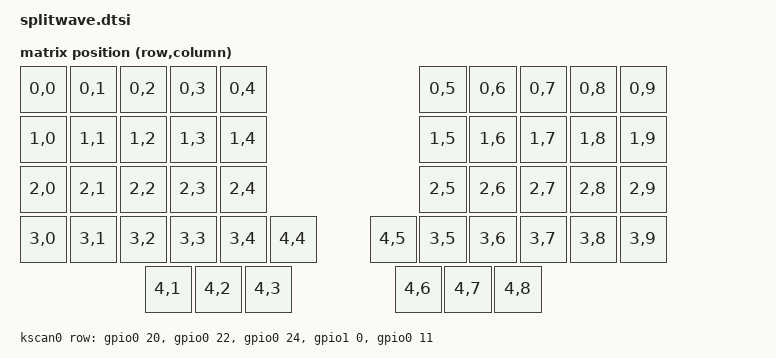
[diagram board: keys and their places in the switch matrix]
#include <dt-bindings/zmk/matrix_transform.h> // Put this with the other includes at the top of your dtsi
#include <physical_layouts.dtsi>

/ {
    chosen {
        zmk,physical-layout = &splitwave_physical_layout;
    };

    kscan0: kscan0 {
        compatible = "zmk,kscan-gpio-matrix";
        diode-direction = "col2row";
        wakeup-source;


        row-gpios = <&gpio0 20 (GPIO_ACTIVE_HIGH | GPIO_PULL_DOWN)>,
		    <&gpio0 22 (GPIO_ACTIVE_HIGH | GPIO_PULL_DOWN)>,
		    <&gpio0 24 (GPIO_ACTIVE_HIGH | GPIO_PULL_DOWN)>,
		    <&gpio1 0 (GPIO_ACTIVE_HIGH | GPIO_PULL_DOWN)>,
		    <&gpio0 11 (GPIO_ACTIVE_HIGH | GPIO_PULL_DOWN)>;
    };

    default_transform: keymap_transform0 {
        compatible = "zmk,matrix-transform";
        columns = <10>;
        rows = <5>;
        map = <
            RC(0,0)  RC(0,1)  RC(0,2)  RC(0,3)  RC(0,4)      RC(0,5)  RC(0,6)  RC(0,7)  RC(0,8)  RC(0,9)
            RC(1,0)  RC(1,1)  RC(1,2)  RC(1,3)  RC(1,4)      RC(1,5)  RC(1,6)  RC(1,7)  RC(1,8)  RC(1,9)
            RC(2,0)  RC(2,1)  RC(2,2)  RC(2,3)  RC(2,4)      RC(2,5)  RC(2,6)  RC(2,7)  RC(2,8)  RC(2,9)
            RC(3,0)  RC(3,1)  RC(3,2)  RC(3,3)  RC(3,4)      RC(3,5)  RC(3,6)  RC(3,7)  RC(3,8)  RC(3,9)
                     RC(4,1)  RC(4,2)  RC(4,3)  RC(4,4)      RC(4,5)  RC(4,6)  RC(4,7)  RC(4,8)
        >;
    }; 

    splitwave_physical_layout: splitwave_physical_layout {
        compatible = "zmk,physical-layout";
        display-name = "Default";
        transform = <&default_transform>;
        kscan = <&kscan0>;
        keys  //                     w   h    x    y     rot    rx    ry
            = <&key_physical_attrs 100 100    0    0       0     0     0>
            , <&key_physical_attrs 100 100  100    0       0     0     0>
            , <&key_physical_attrs 100 100  200    0       0     0     0>
            , <&key_physical_attrs 100 100  300    0       0     0     0>
            , <&key_physical_attrs 100 100  400    0       0     0     0>
            , <&key_physical_attrs 100 100  800    0       0     0     0>
            , <&key_physical_attrs 100 100  900    0       0     0     0>
            , <&key_physical_attrs 100 100 1000    0       0     0     0>
            , <&key_physical_attrs 100 100 1100    0       0     0     0>
            , <&key_physical_attrs 100 100 1200    0       0     0     0>
            , <&key_physical_attrs 100 100    0  100       0     0     0>
            , <&key_physical_attrs 100 100  100  100       0     0     0>
            , <&key_physical_attrs 100 100  200  100       0     0     0>
            , <&key_physical_attrs 100 100  300  100       0     0     0>
            , <&key_physical_attrs 100 100  400  100       0     0     0>
            , <&key_physical_attrs 100 100  800  100       0     0     0>
            , <&key_physical_attrs 100 100  900  100       0     0     0>
            , <&key_physical_attrs 100 100 1000  100       0     0     0>
            , <&key_physical_attrs 100 100 1100  100       0     0     0>
            , <&key_physical_attrs 100 100 1200  100       0     0     0>
            , <&key_physical_attrs 100 100    0  200       0     0     0>
            , <&key_physical_attrs 100 100  100  200       0     0     0>
            , <&key_physical_attrs 100 100  200  200       0     0     0>
            , <&key_physical_attrs 100 100  300  200       0     0     0>
            , <&key_physical_attrs 100 100  400  200       0     0     0>
            , <&key_physical_attrs 100 100  800  200       0     0     0>
            , <&key_physical_attrs 100 100  900  200       0     0     0>
            , <&key_physical_attrs 100 100 1000  200       0     0     0>
            , <&key_physical_attrs 100 100 1100  200       0     0     0>
            , <&key_physical_attrs 100 100 1200  200       0     0     0>
            , <&key_physical_attrs 100 100    0  300       0     0     0>
            , <&key_physical_attrs 100 100  100  300       0     0     0>
            , <&key_physical_attrs 100 100  200  300       0     0     0>
            , <&key_physical_attrs 100 100  300  300       0     0     0>
            , <&key_physical_attrs 100 100  400  300       0     0     0>
            , <&key_physical_attrs 100 100  800  300       0     0     0>
            , <&key_physical_attrs 100 100  900  300       0     0     0>
            , <&key_physical_attrs 100 100 1000  300       0     0     0>
            , <&key_physical_attrs 100 100 1100  300       0     0     0>
            , <&key_physical_attrs 100 100 1200  300       0     0     0>
            , <&key_physical_attrs 100 100  250  400       0     0     0>
            , <&key_physical_attrs 100 100  350  400       0     0     0>
            , <&key_physical_attrs 100 100  450  400       0     0     0>
            , <&key_physical_attrs 100 100  500  300       0     0     0>
            , <&key_physical_attrs 100 100  700  300       0     0     0>
            , <&key_physical_attrs 100 100  750  400       0     0     0>
            , <&key_physical_attrs 100 100  850  400       0     0     0>
            , <&key_physical_attrs 100 100  950  400       0     0     0>
            ;
    };
};
